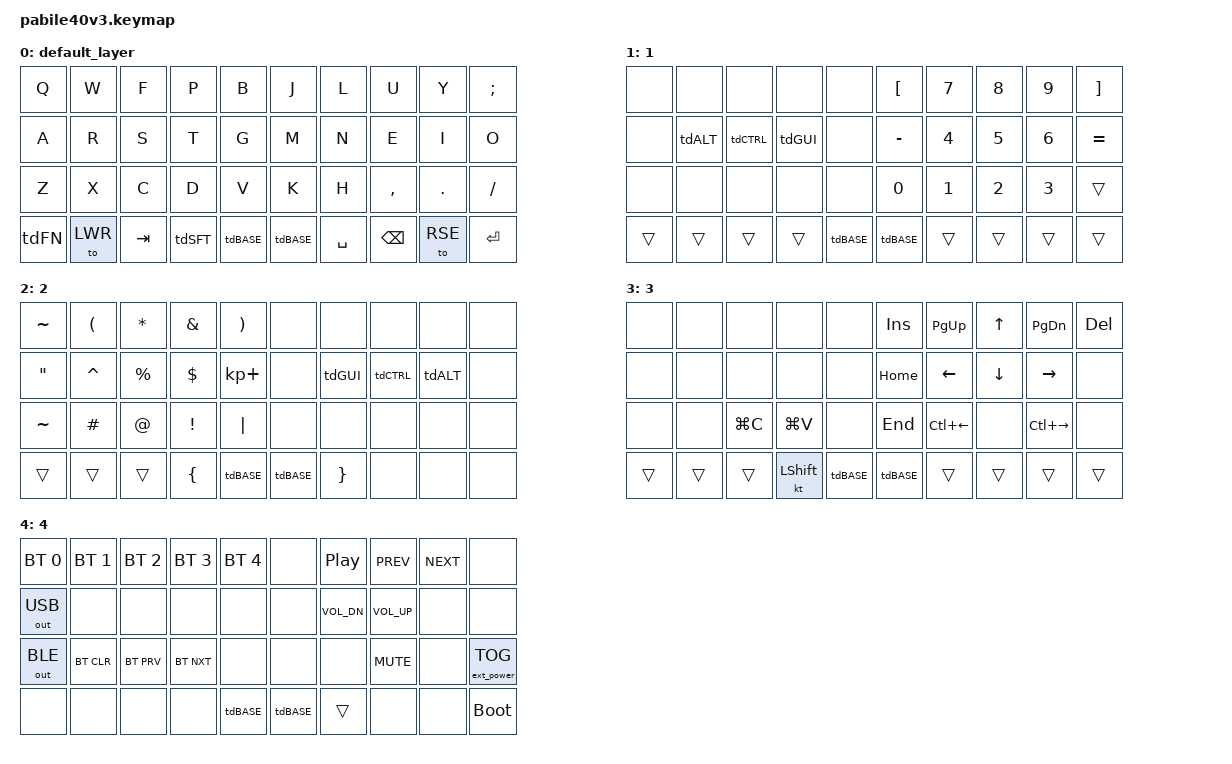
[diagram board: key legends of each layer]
/*
 * Copyright (c) 2023 The ZMK Contributors
 *
 * SPDX-License-Identifier: MIT
 */

#include <behaviors.dtsi>
#include <dt-bindings/zmk/keys.h>
#include <dt-bindings/zmk/bt.h>
#include <dt-bindings/zmk/outputs.h>
#include <dt-bindings/zmk/rgb.h>
#include <dt-bindings/zmk/ext_power.h>

#define BASE 0
#define LWR  1
#define RSE  2
#define ADJ  3
#define FN   4

#define HYPR LG(LS(LA(LCTRL)))
#define MEH  LS(LA(LCTRL))
#define LCAG LG(LA(LCTRL))

#define MAC_COPY &kp LG(C)
#define MAC_PASTE &kp LG(V)
#define MAC_NWKS &kp LC(RIGHT)
#define MAC_PWKS &kp LC(LEFT)


/ {

	combos {
        compatible = "zmk,combos";

		combo_ESC {
            timeout-ms = <50>;
            key-positions = <0 1>;
            bindings = <&kp ESC>;
        };

		combo_RSFT {
            timeout-ms = <50>;
            key-positions = <8 9>;
            bindings = <&kp RSFT>;
        };

		combo_lwr {
            timeout-ms = <50>;
            key-positions = <20 29>;
            bindings = <&sl LWR>;
        };

		combo_rse {
            timeout-ms = <50>;
            key-positions = <0 9>;
            bindings = <&sl RSE>;
        };

		combo_guiTab {
            timeout-ms = <50>;
            key-positions = <1 2>;
            bindings = <&kp LG(TAB)>;
        };
		

        combo_skGui {
            timeout-ms = <50>;
            key-positions = <22 23>;
            bindings = <&sk LGUI>;
        };
		combo_ktGui {
            timeout-ms = <50>;
            key-positions = <26 27>;
			layers = <0>;
            bindings = <&kt LGUI>;
        };

		combo_skCtrl {
            timeout-ms = <50>;
            key-positions = <21 22>;
            bindings = <&sk LCTRL>;
        };
		combo_skAlt {
            timeout-ms = <50>;
            key-positions = <20 21>;
            bindings = <&sk LALT>;
        };
    };

	behaviors {
        tdGUI: tap_dance_gui {
            compatible = "zmk,behavior-tap-dance";
            #binding-cells = <0>;
			label = "TAP_DANCE_GUI";
            tapping-term-ms = <200>;
            bindings = <&sk LGUI>, <&kt LGUI>;
        };
		tdSFT: tap_dance_shift {
            compatible = "zmk,behavior-tap-dance";
            #binding-cells = <0>;
			label = "TAP_DANCE_SFT";
            tapping-term-ms = <200>;
            bindings = <&sk LSHFT>, <&kt LSHFT>;
        };
		tdCTRL: tap_dance_ctrl {
            compatible = "zmk,behavior-tap-dance";
            #binding-cells = <0>;
			label = "TAP_DANCE_CTL";
            tapping-term-ms = <200>;
            bindings = <&sk LCTRL>, <&kt LCTRL>;
        };
		tdALT: tap_dance_alt {
            compatible = "zmk,behavior-tap-dance";
            #binding-cells = <0>;
			label = "TAP_DANCE_ALT";
            tapping-term-ms = <200>;
            bindings = <&sk LALT>, <&kt LALT>;
        };
		tdLWR: tap_dance_lwr {
            compatible = "zmk,behavior-tap-dance";
            #binding-cells = <0>;
			label = "TAP_DANCE_LWR";
            tapping-term-ms = <200>;
            bindings = <&sl LWR>, <&to LWR>;
        };
		tdRSE: tap_dance_rse {
            compatible = "zmk,behavior-tap-dance";
            #binding-cells = <0>;
			label = "TAP_DANCE_RSE";
            tapping-term-ms = <200>;
            bindings = <&sl RSE>, <&to RSE>;
        };
		tdFN: tap_dance_fn {
            compatible = "zmk,behavior-tap-dance";
            #binding-cells = <0>;
			label = "TAP_DANCE_FN";
            tapping-term-ms = <200>;
            bindings = <&sl FN>, <&kp GRAVE>;
        };
		tdBASE: tap_dance_base {
            compatible = "zmk,behavior-tap-dance";
            #binding-cells = <0>;
			label = "TAP_DANCE_BASE";
            tapping-term-ms = <200>;
            bindings = <&to BASE>, <&to ADJ>;
        };

    };

	keymap {
		compatible = "zmk,keymap";

		default_layer {
			// --------------------------------------------------------------------------
			// |  Q   |  W   |  F   |  P   |  B   |   J   |  L    |  U   |  Y   |   ;   | 
			// |  A   |  R   |  S   |  T   |  G   |   M   |  N    |  E   |  I   |   O   | 
			// |  Z   |  X   |  C   |  D   |  V   |   K   |  H    |  ,   |  .   |   /   |       
			// | LCTL | LGUI | LALT | LSHFT|     BASE     |  ENT  | DEL  | RCTL | ESC   |

			bindings = <
				&kp Q     &kp W     &kp F    &kp P     &kp B      &kp J       &kp L       &kp U     &kp Y     &kp SCLN
				&kp A     &kp R     &kp S    &kp T     &kp G      &kp M       &kp N       &kp E     &kp I     &kp O
				&kp Z     &kp X     &kp C    &kp D     &kp V      &kp K       &kp H       &kp COMMA &kp DOT   &kp FSLH
				&tdFN     &to LWR   &kp TAB  &tdSFT    &tdBASE    &tdBASE     &kp SPACE   &kp BSPC  &to RSE   &kp RET
			>;
		};
		1 {
			bindings = <
				&none    &none     &none      &none      &none      &kp LBKT   &kp N7       &kp N8    &kp N9   &kp RBKT
				&none    &tdALT    &tdCTRL    &tdGUI     &none      &kp MINUS  &kp N4       &kp N5    &kp N6   &kp EQUAL
				&none    &none     &none      &none      &none      &kp N0     &kp N1       &kp N2    &kp N3   &trans
				&trans   &trans    &trans     &trans     &tdBASE    &tdBASE    &trans       &trans    &trans   &trans
			>;
		};
		2 {
			bindings = <
				&kp TILDE &kp LPAR  &kp STAR  &kp AMPS   &kp RPAR     &none           &none     &none             &none           &none
				&kp DQT   &kp CARET &kp PRCNT &kp DLLR   &kp KP_PLUS  &none           &tdGUI    &tdCTRL           &tdALT          &none
				&kp TILDE &kp HASH  &kp AT    &kp EXCL   &kp PIPE     &none           &none     &none             &none           &none
				&trans    &trans    &trans    &kp LBRC   &tdBASE      &tdBASE         &kp RBRC  &none             &none           &none
			>;
		};
		3 {
			bindings = <
				&none         &none       &none       &none       &none      &kp INS     &kp PAGE_UP  &kp UP     &kp PAGE_DOWN      &kp DEL
				&none         &none       &none       &none       &none      &kp HOME    &kp LEFT     &kp DOWN   &kp RIGHT          &none
				&none         &none       MAC_COPY    MAC_PASTE   &none      &kp END     MAC_PWKS     &none      MAC_NWKS           &none
				&trans        &trans      &trans      &kt LSHFT   &tdBASE    &tdBASE  &trans       &trans     &trans             &trans
			>;
		};
		4 {
			bindings = <
				&bt BT_SEL 0  &bt BT_SEL 1 &bt BT_SEL 2 &bt BT_SEL 3 &bt BT_SEL 4 &none      &kp C_PP      &kp C_PREV    &kp C_NEXT  &none
				&out OUT_USB  &none        &none        &none        &none        &none      &kp C_VOL_DN  &kp C_VOL_UP  &none       &none
				&out OUT_BLE  &bt BT_CLR   &bt BT_PRV   &bt BT_NXT   &none        &none      &none         &kp C_MUTE    &none       &ext_power EP_TOG
				&none         &none        &none        &none        &tdBASE      &tdBASE    &trans        &none         &none       &bootloader
			>;
		};
	};
};

